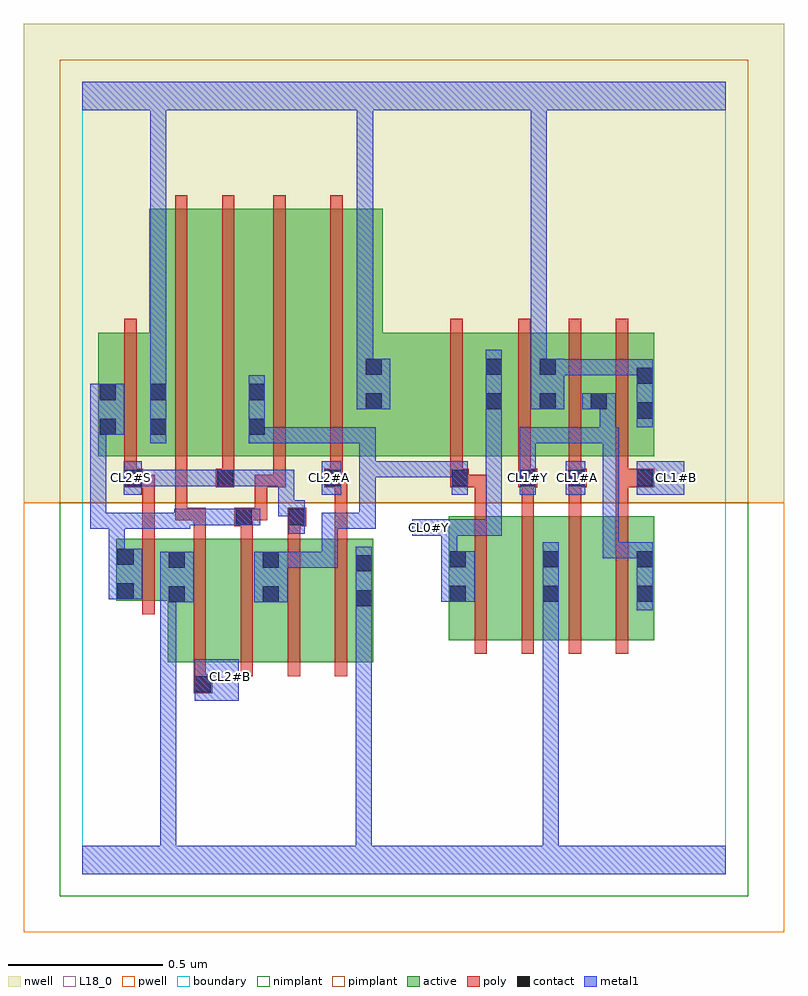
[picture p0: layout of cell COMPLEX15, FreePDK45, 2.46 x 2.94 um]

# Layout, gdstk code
import gdstk
lib = gdstk.Library(unit=1e-6, precision=1e-09)
def R(c, l, rs):  # rectangles x0, y0, x1, y1
    for r in rs: c.add(gdstk.rectangle(r[:2], r[2:], *l))
def A(c, l, x, y, w, h, nx, ny, dx, dy):  # array of equal rectangles
    R(c, l, [(x+i*dx, y+j*dy, x+i*dx+w, y+j*dy+h) for i in range(nx) for j in range(ny)])
active = (1, 0)
pwell = (2, 0)
nwell = (3, 0)
nimplant = (4, 0)
pimplant = (5, 0)
poly = (9, 0)
contact = (10, 0)
metal1 = (11, 0)
L18_0 = (18, 0)
boundary = (235, 0)

complex15 = lib.new_cell('COMPLEX15')
R(complex15, active, [(0.276,0.684,0.456,1.084), (0.456,0.684,0.64,1.084), (0.58,0.684,0.76,1.084), (0.76,0.684,0.94,1.084), (0.58,0.756,0.64,1.046), (0.88,0.756,0.94,1.084), (1.184,0.756,1.244,1.156), (1.184,0.756,1.364,1.156), (1.364,0.756,1.544,1.156), (1.484,0.756,1.668,1.156), (1.484,0.756,1.544,1.048), (1.668,0.756,1.848,1.156), (1.788,0.756,1.848,1.156), (0.276,0.874,0.336,1.046), (0.11,0.884,0.336,1.084), (0.11,0.884,0.17,1.084), (0.052,1.35,0.276,1.75), (0.052,1.35,0.112,1.644), (0.216,1.35,0.396,2.15), (0.396,1.35,0.594,2.15), (0.534,1.35,0.746,2.15), (0.534,1.35,0.594,2.044), (0.746,1.35,0.972,2.15), (0.912,1.35,1.36,1.75), (1.3,1.35,1.36,1.75), (1.3,1.35,1.534,1.75), (1.474,1.35,1.534,1.75), (1.474,1.35,1.7,1.75), (1.64,1.35,1.848,1.75), (1.788,1.35,1.848,1.75), (0.216,1.416,0.276,1.644), (0.912,1.472,0.972,1.67), (1.64,1.498,1.7,1.644)])
R(complex15, pwell, [(-0.188,-0.188,2.268,1.2)])
R(complex15, nwell, [(-0.188,1.2,2.268,2.748)])
R(complex15, nimplant, [(-0.072,-0.072,2.152,1.2)])
R(complex15, pimplant, [(-0.072,1.2,2.152,2.632)])
A(complex15, poly, 0.36, 0.64, 0.04, 0.488, 4, 1, 0.152, 0)
A(complex15, poly, 1.268, 0.712, 0.04, 0.488, 4, 1, 0.152, 0)
A(complex15, poly, 1.268, 1.16, 0.04, 0.13, 4, 1, 0.152, 0)
R(complex15, poly, [(0.36,0.584,0.42,0.644), (0.36,0.604,0.4,0.68), (0.194,0.84,0.234,1.128), (0.194,1.088,0.234,1.29), (0.36,1.088,0.4,1.184), (0.512,1.088,0.552,1.164), (0.664,1.088,0.704,1.164), (0.816,1.088,0.856,1.29), (0.492,1.124,0.552,1.184), (0.664,1.124,0.724,1.184), (0.3,1.144,0.34,1.184), (0.3,1.144,0.34,1.184), (0.3,1.144,0.34,1.346), (0.3,1.144,0.4,1.184), (0.512,1.144,0.598,1.184), (0.558,1.144,0.598,1.184), (0.558,1.144,0.598,1.29), (0.136,1.25,0.196,1.31), (0.156,1.25,0.196,1.29), (0.156,1.25,0.234,1.29), (0.432,1.25,0.492,1.31), (0.558,1.25,0.598,1.29), (0.558,1.25,0.658,1.29), (0.618,1.25,0.658,1.29), (0.618,1.25,0.658,1.346), (0.782,1.25,0.842,1.31), (0.802,1.25,0.842,1.29), (0.802,1.25,0.856,1.29), (1.19,1.25,1.25,1.31), (1.21,1.25,1.25,1.29), (1.21,1.25,1.308,1.29), (1.41,1.25,1.47,1.31), (1.42,1.25,1.46,1.29), (1.42,1.25,1.46,1.29), (1.57,1.25,1.63,1.31), (1.724,1.25,1.764,1.29), (1.724,1.25,1.764,1.29), (1.724,1.25,1.848,1.31), (0.136,1.27,0.176,1.346), (0.452,1.27,0.492,1.346), (0.802,1.27,0.842,1.346), (1.19,1.27,1.23,1.346), (1.41,1.27,1.45,1.346), (1.572,1.27,1.612,1.346), (1.572,1.27,1.612,1.31), (1.572,1.27,1.612,1.31), (1.724,1.27,1.764,1.346), (0.136,1.306,0.176,1.794), (0.3,1.306,0.34,2.194), (0.452,1.306,0.492,2.194), (0.618,1.306,0.658,2.194), (0.802,1.306,0.842,2.194), (1.19,1.306,1.23,1.794), (1.41,1.306,1.45,1.794), (1.572,1.306,1.612,1.794), (1.724,1.306,1.764,1.794)])
R(complex15, contact, [(0.364,0.588,0.416,0.64), (0.884,0.866,0.936,0.918), (0.28,0.878,0.332,0.93), (0.584,0.878,0.636,0.93), (1.188,0.88,1.24,0.932), (1.488,0.88,1.54,0.932), (1.792,0.88,1.844,0.932), (0.114,0.888,0.166,0.94), (0.884,0.978,0.936,1.03), (0.28,0.99,0.332,1.042), (0.584,0.99,0.636,1.042), (1.188,0.992,1.24,1.044), (1.488,0.992,1.54,1.044), (1.792,0.992,1.844,1.044), (0.114,1,0.166,1.052), (0.496,1.128,0.548,1.18), (0.668,1.128,0.72,1.18), (0.14,1.254,0.192,1.306), (0.436,1.254,0.488,1.306), (0.786,1.254,0.838,1.306), (1.194,1.254,1.246,1.306), (1.414,1.254,1.466,1.306), (1.574,1.254,1.626,1.306), (1.792,1.254,1.844,1.306), (0.056,1.42,0.108,1.472), (0.22,1.42,0.272,1.472), (0.538,1.42,0.59,1.472), (1.792,1.472,1.844,1.524), (0.916,1.502,0.968,1.554), (1.304,1.502,1.356,1.554), (1.478,1.502,1.53,1.554), (1.644,1.502,1.696,1.554), (0.056,1.532,0.108,1.584), (0.22,1.532,0.272,1.584), (0.538,1.532,0.59,1.584), (1.792,1.584,1.844,1.636), (0.916,1.614,0.968,1.666), (1.304,1.614,1.356,1.666), (1.478,1.614,1.53,1.666)])
R(complex15, metal1, [(0,0,2.08,0.092), (0.252,0.04,0.304,0.092), (0.252,0.04,0.304,0.092), (0.252,0.04,0.304,0.092), (0.252,0.04,0.304,0.092), (0.252,0.04,0.304,0.092), (0.252,0.04,0.304,0.092), (0.252,0.04,0.304,0.092), (0.252,0.04,0.304,0.092), (0.252,0.04,0.304,0.092), (0.252,0.04,0.304,0.092), (0.252,0.04,0.304,0.092), (0.252,0.04,0.304,0.092), (0.252,0.04,0.304,0.93), (0.884,0.04,0.936,0.092), (0.884,0.04,0.936,0.092), (0.884,0.04,0.936,0.092), (0.884,0.04,0.936,0.092), (0.884,0.04,0.936,0.092), (0.884,0.04,0.936,0.092), (0.884,0.04,0.936,0.092), (0.884,0.04,0.936,0.092), (0.884,0.04,0.936,0.89), (1.488,0.04,1.54,0.092), (1.488,0.04,1.54,0.092), (1.488,0.04,1.54,0.092), (1.488,0.04,1.54,0.092), (1.488,0.04,1.54,0.092), (1.488,0.04,1.54,0.092), (1.488,0.04,1.54,0.092), (1.488,0.04,1.54,0.092), (1.488,0.04,1.54,0.092), (1.488,0.04,1.54,0.092), (1.488,0.04,1.54,0.092), (1.488,0.04,1.54,0.092), (1.488,0.04,1.54,0.904), (0.364,0.56,0.506,0.694), (0.884,0.838,0.936,0.89), (0.884,0.838,0.936,0.89), (0.884,0.838,0.936,0.89), (0.884,0.838,0.936,0.89), (0.884,0.838,0.936,1.058), (1.488,0.852,1.54,1.072), (1.792,0.852,1.844,1.072), (0.252,0.878,0.36,1.042), (0.556,0.878,0.664,1.042), (1.16,0.88,1.268,1.044), (0.086,0.888,0.194,1.052), (0.612,0.99,0.716,1.042), (0.664,0.99,0.716,1.042), (0.664,0.99,0.826,1.042), (0.774,0.99,0.826,1.042), (0.774,0.99,0.826,1.168), (1.16,0.992,1.212,1.146), (0.086,1,0.138,1.168), (1.682,1.02,1.734,1.072), (1.682,1.02,1.844,1.072), (1.682,1.02,1.734,1.444), (1.792,1.02,1.844,1.072), (1.792,1.02,1.844,1.072), (1.066,1.094,1.212,1.146), (1.16,1.094,1.356,1.146), (1.304,1.094,1.356,1.146), (1.304,1.094,1.356,1.146), (1.304,1.094,1.356,1.146), (1.304,1.094,1.356,1.526), (0.668,1.1,0.72,1.208), (0.026,1.116,0.078,1.472), (0.026,1.116,0.138,1.168), (0.086,1.116,0.138,1.168), (0.086,1.116,0.138,1.168), (0.086,1.116,0.35,1.168), (0.298,1.116,0.35,1.18), (0.774,1.116,0.826,1.168), (0.774,1.116,0.83,1.168), (0.778,1.116,0.83,1.168), (0.778,1.116,0.948,1.168), (0.896,1.116,0.948,1.168), (0.896,1.116,0.948,1.334), (0.298,1.128,0.35,1.18), (0.298,1.128,0.35,1.18), (0.298,1.128,0.48,1.18), (0.428,1.128,0.48,1.18), (0.428,1.128,0.52,1.18), (0.468,1.128,0.576,1.18), (0.634,1.156,0.686,1.208), (0.634,1.156,0.72,1.208), (0.634,1.156,0.686,1.306), (0.134,1.226,0.192,1.334), (0.774,1.226,0.838,1.334), (1.194,1.226,1.246,1.334), (1.414,1.226,1.466,1.334), (1.562,1.226,1.626,1.334), (1.792,1.226,1.946,1.334), (0.14,1.254,0.304,1.306), (0.252,1.254,0.304,1.306), (0.252,1.254,0.304,1.306), (0.252,1.254,0.304,1.306), (0.252,1.254,0.46,1.306), (0.408,1.254,0.46,1.306), (0.408,1.254,0.46,1.306), (0.408,1.254,0.516,1.306), (0.464,1.254,0.686,1.306), (0.634,1.254,0.686,1.306), (0.896,1.282,0.948,1.334), (0.896,1.282,0.948,1.444), (0.896,1.282,1.246,1.334), (1.194,1.282,1.246,1.334), (1.194,1.282,1.246,1.334), (1.414,1.282,1.466,1.334), (1.414,1.282,1.466,1.444), (0.22,1.392,0.272,1.612), (0.538,1.392,0.59,1.612), (0.538,1.392,0.716,1.444), (0.664,1.392,0.716,1.444), (0.664,1.392,0.826,1.444), (0.774,1.392,0.826,1.444), (0.774,1.392,0.948,1.444), (0.896,1.392,0.948,1.444), (0.896,1.392,0.948,1.444), (0.896,1.392,0.948,1.444), (1.414,1.392,1.724,1.444), (1.672,1.392,1.724,1.444), (1.672,1.392,1.724,1.444), (1.672,1.392,1.724,1.554), (1.672,1.392,1.734,1.444), (1.682,1.392,1.734,1.444), (1.682,1.392,1.734,1.444), (0.026,1.42,0.078,1.472), (0.026,1.42,0.078,1.472), (0.026,1.42,0.136,1.584), (1.792,1.444,1.844,1.664), (1.304,1.474,1.356,1.526), (1.304,1.474,1.356,1.526), (1.304,1.474,1.356,1.694), (0.888,1.502,0.996,1.666), (1.45,1.502,1.558,1.666), (1.616,1.502,1.724,1.554), (0.22,1.56,0.272,1.612), (0.22,1.56,0.272,1.612), (0.22,1.56,0.272,2.52), (1.506,1.612,1.734,1.664), (1.682,1.612,1.734,1.664), (1.682,1.612,1.734,1.664), (1.682,1.612,1.734,1.664), (1.682,1.612,1.844,1.664), (1.792,1.612,1.844,1.664), (1.792,1.612,1.844,1.664), (0.888,1.614,0.94,1.666), (0.888,1.614,0.94,1.666), (0.888,1.614,0.94,1.666), (0.888,1.614,0.94,1.666), (0.888,1.614,0.94,2.52), (1.45,1.614,1.502,1.666), (1.45,1.614,1.502,1.666), (1.45,1.614,1.502,2.52), (0,2.468,2.08,2.56), (0.22,2.468,0.272,2.52), (0.22,2.468,0.272,2.52), (0.22,2.468,0.272,2.52), (0.22,2.468,0.272,2.52), (0.22,2.468,0.272,2.52), (0.22,2.468,0.272,2.52), (0.888,2.468,0.94,2.52), (0.888,2.468,0.94,2.52), (0.888,2.468,0.94,2.52), (0.888,2.468,0.94,2.52), (1.45,2.468,1.502,2.52), (1.45,2.468,1.502,2.52), (1.45,2.468,1.502,2.52), (1.45,2.468,1.502,2.52), (1.45,2.468,1.502,2.52), (1.45,2.468,1.502,2.52), (1.45,2.468,1.502,2.52), (1.45,2.468,1.502,2.52), (1.45,2.468,1.502,2.52), (1.45,2.468,1.502,2.52), (1.45,2.468,1.502,2.52), (1.45,2.468,1.502,2.52), (1.45,2.468,1.502,2.52), (1.45,2.468,1.502,2.52)])
R(complex15, L18_0, [(0,0,2.08,0.092), (0.252,0.04,0.304,0.092), (0.252,0.04,0.304,0.092), (0.252,0.04,0.304,0.092), (0.252,0.04,0.304,0.092), (0.252,0.04,0.304,0.092), (0.252,0.04,0.304,0.092), (0.252,0.04,0.304,0.092), (0.252,0.04,0.304,0.092), (0.252,0.04,0.304,0.092), (0.252,0.04,0.304,0.092), (0.252,0.04,0.304,0.092), (0.252,0.04,0.304,0.092), (0.252,0.04,0.304,0.93), (0.884,0.04,0.936,0.092), (0.884,0.04,0.936,0.092), (0.884,0.04,0.936,0.092), (0.884,0.04,0.936,0.092), (0.884,0.04,0.936,0.092), (0.884,0.04,0.936,0.092), (0.884,0.04,0.936,0.092), (0.884,0.04,0.936,0.092), (0.884,0.04,0.936,0.89), (1.488,0.04,1.54,0.092), (1.488,0.04,1.54,0.092), (1.488,0.04,1.54,0.092), (1.488,0.04,1.54,0.092), (1.488,0.04,1.54,0.092), (1.488,0.04,1.54,0.092), (1.488,0.04,1.54,0.092), (1.488,0.04,1.54,0.092), (1.488,0.04,1.54,0.092), (1.488,0.04,1.54,0.092), (1.488,0.04,1.54,0.092), (1.488,0.04,1.54,0.092), (1.488,0.04,1.54,0.904), (0.364,0.56,0.506,0.694), (0.454,0.614,0.506,0.666), (0.884,0.838,0.936,0.89), (0.884,0.838,0.936,0.89), (0.884,0.838,0.936,0.89), (0.884,0.838,0.936,0.89), (0.884,0.838,0.936,1.058), (1.488,0.852,1.54,1.072), (1.792,0.852,1.844,1.072), (0.252,0.878,0.36,1.042), (1.16,0.88,1.268,1.044), (1.16,0.992,1.212,1.146), (1.682,1.02,1.734,1.072), (1.682,1.02,1.734,1.444), (1.682,1.02,1.844,1.072), (1.792,1.02,1.844,1.072), (1.792,1.02,1.844,1.072), (1.066,1.094,1.212,1.146), (1.094,1.094,1.146,1.146), (1.16,1.094,1.356,1.146), (1.304,1.094,1.356,1.146), (1.304,1.094,1.356,1.146), (1.304,1.094,1.356,1.146), (1.304,1.094,1.356,1.526), (0.668,1.1,0.72,1.208), (0.634,1.156,0.686,1.208), (0.634,1.156,0.686,1.306), (0.634,1.156,0.72,1.208), (0.134,1.226,0.192,1.334), (0.774,1.226,0.838,1.334), (1.414,1.226,1.466,1.334), (1.562,1.226,1.626,1.334), (1.792,1.226,1.946,1.334), (0.134,1.254,0.186,1.306), (0.14,1.254,0.304,1.306), (0.252,1.254,0.304,1.306), (0.252,1.254,0.304,1.306), (0.252,1.254,0.304,1.306), (0.252,1.254,0.46,1.306), (0.408,1.254,0.46,1.306), (0.408,1.254,0.46,1.306), (0.408,1.254,0.516,1.306), (0.464,1.254,0.686,1.306), (0.634,1.254,0.686,1.306), (0.774,1.254,0.826,1.306), (1.414,1.254,1.466,1.306), (1.574,1.254,1.626,1.306), (1.894,1.254,1.946,1.306), (1.414,1.282,1.466,1.334), (1.414,1.282,1.466,1.444), (0.22,1.392,0.272,1.612), (1.414,1.392,1.724,1.444), (1.672,1.392,1.724,1.444), (1.672,1.392,1.724,1.444), (1.672,1.392,1.724,1.554), (1.672,1.392,1.734,1.444), (1.682,1.392,1.734,1.444), (1.682,1.392,1.734,1.444), (1.792,1.444,1.844,1.664), (1.304,1.474,1.356,1.526), (1.304,1.474,1.356,1.526), (1.304,1.474,1.356,1.694), (0.888,1.502,0.996,1.666), (1.45,1.502,1.558,1.666), (1.616,1.502,1.724,1.554), (0.22,1.56,0.272,1.612), (0.22,1.56,0.272,1.612), (0.22,1.56,0.272,2.52), (1.506,1.612,1.734,1.664), (1.682,1.612,1.734,1.664), (1.682,1.612,1.734,1.664), (1.682,1.612,1.734,1.664), (1.682,1.612,1.844,1.664), (1.792,1.612,1.844,1.664), (1.792,1.612,1.844,1.664), (0.888,1.614,0.94,1.666), (0.888,1.614,0.94,1.666), (0.888,1.614,0.94,1.666), (0.888,1.614,0.94,1.666), (0.888,1.614,0.94,2.52), (1.45,1.614,1.502,1.666), (1.45,1.614,1.502,1.666), (1.45,1.614,1.502,2.52), (0,2.468,2.08,2.56), (0.22,2.468,0.272,2.52), (0.22,2.468,0.272,2.52), (0.22,2.468,0.272,2.52), (0.22,2.468,0.272,2.52), (0.22,2.468,0.272,2.52), (0.22,2.468,0.272,2.52), (0.888,2.468,0.94,2.52), (0.888,2.468,0.94,2.52), (0.888,2.468,0.94,2.52), (0.888,2.468,0.94,2.52), (1.45,2.468,1.502,2.52), (1.45,2.468,1.502,2.52), (1.45,2.468,1.502,2.52), (1.45,2.468,1.502,2.52), (1.45,2.468,1.502,2.52), (1.45,2.468,1.502,2.52), (1.45,2.468,1.502,2.52), (1.45,2.468,1.502,2.52), (1.45,2.468,1.502,2.52), (1.45,2.468,1.502,2.52), (1.45,2.468,1.502,2.52), (1.45,2.468,1.502,2.52), (1.45,2.468,1.502,2.52), (1.45,2.468,1.502,2.52)])
R(complex15, boundary, [(0,0,2.08,2.56)])
complex15.add(gdstk.Label('CL0#Y', (1.12,1.12), layer=11, texttype=0))
complex15.add(gdstk.Label('CL1#A', (1.6,1.28), layer=11, texttype=0))
complex15.add(gdstk.Label('CL1#B', (1.92,1.28), layer=11, texttype=0))
complex15.add(gdstk.Label('CL1#Y', (1.44,1.28), layer=11, texttype=0))
complex15.add(gdstk.Label('CL2#A', (0.8,1.28), layer=11, texttype=0))
complex15.add(gdstk.Label('CL2#B', (0.48,0.64), layer=11, texttype=0))
complex15.add(gdstk.Label('CL2#S', (0.16,1.28), layer=11, texttype=0))

lib.write_gds('COMPLEX15.gds')
